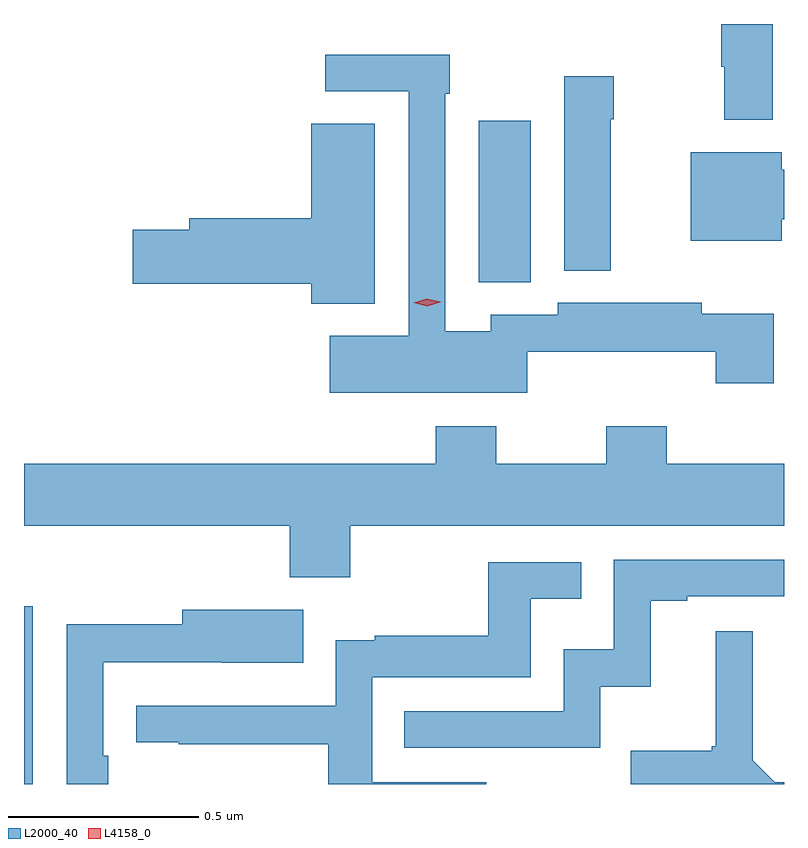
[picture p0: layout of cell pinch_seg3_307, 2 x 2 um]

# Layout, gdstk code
import gdstk
lib = gdstk.Library(unit=1e-6, precision=1e-09)
def R(c, l, rs):  # rectangles x0, y0, x1, y1
    for r in rs: c.add(gdstk.rectangle(r[:2], r[2:], *l))
def P(c, l, *ps):  # polygons
    for p in ps: c.add(gdstk.Polygon(p, *l))
L2000_40 = (2000, 40)
L4158_0 = (4158, 0)

pinch_seg3_307 = lib.new_cell('pinch_seg3_307')
R(pinch_seg3_307, L2000_40, [(981.122,714.889,981.145,715.357), (982.319,716.209,982.456,716.635)])
P(pinch_seg3_307, L2000_40, [(983.093,716.889),(982.957,716.889),(982.957,716.777),(982.965,716.777),(982.965,716.637),(983.093,716.637)],
  [(982.446,716.027),(982.943,716.027),(982.943,715.944),(983.095,715.944),(983.095,716.126),(982.906,716.126),(982.906,716.155),(982.526,716.155),(982.526,716.124),(982.35,716.124),(982.35,716.08),(982.23,716.08),(982.23,716.705),(982.243,716.705),(982.243,716.808),(981.915,716.808),(981.915,716.712),(982.134,716.712),(982.134,716.068),(981.927,716.068),(981.927,715.919),(982.446,715.919)],
  [(982.666,716.639),(982.674,716.639),(982.674,716.752),(982.544,716.752),(982.544,716.24),(982.666,716.24)],
  [(982.045,716.627),(981.878,716.627),(981.878,716.378),(981.557,716.378),(981.557,716.348),(981.408,716.348),(981.408,716.206),(981.878,716.206),(981.878,716.153),(982.045,716.153)],
  [(983.116,716.375),(983.122,716.375),(983.122,716.505),(983.116,716.505),(983.116,716.551),(982.877,716.551),(982.877,716.318),(983.116,716.318)],
  [(981.981,715.568),(983.122,715.568),(983.122,715.732),(982.814,715.732),(982.814,715.831),(982.654,715.831),(982.654,715.732),(982.365,715.732),(982.365,715.831),(982.205,715.831),(982.205,715.732),(981.122,715.732),(981.122,715.568),(981.821,715.568),(981.821,715.433),(981.981,715.433)],
  [(982.638,715.145),(982.771,715.145),(982.771,715.371),(982.867,715.371),(982.867,715.383),(983.122,715.383),(983.122,715.479),(982.674,715.479),(982.674,715.243),(982.542,715.243),(982.542,715.08),(982.123,715.08),(982.123,714.984),(982.638,714.984)],
  [(982.339,714.894),(982.038,714.894),(982.038,715.17),(982.455,715.17),(982.455,715.376),(982.589,715.376),(982.589,715.473),(982.344,715.473),(982.344,715.279),(982.045,715.279),(982.045,715.267),(981.942,715.267),(981.942,715.095),(981.417,715.095),(981.417,714.999),(981.529,714.999),(981.529,714.994),(981.922,714.994),(981.922,714.889),(982.339,714.889)],
  [(981.344,714.964),(981.33,714.964),(981.33,715.209),(981.643,715.209),(981.643,715.208),(981.857,715.208),(981.857,715.348),(981.539,715.348),(981.539,715.31),(981.234,715.31),(981.234,714.889),(981.344,714.889)],
  [(983.122,714.894),(983.097,714.894),(983.04,714.951),(983.04,715.291),(982.943,715.291),(982.943,714.988),(982.932,714.988),(982.932,714.976),(982.719,714.976),(982.719,714.889),(983.122,714.889)])
P(pinch_seg3_307, L4158_0, [(982.183,716.146),(982.148,716.155),(982.148,716.155),(982.148,716.155),(982.182,716.166),(982.217,716.158),(982.217,716.157),(982.217,716.157)])

lib.write_gds('pinch_seg3_307.gds')
